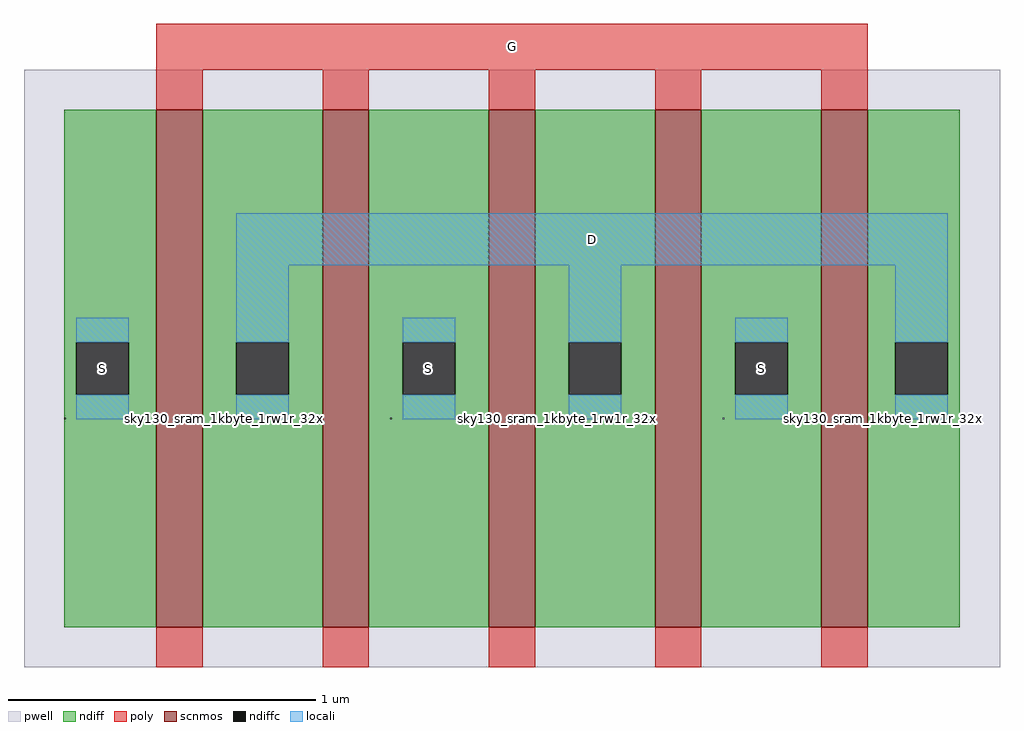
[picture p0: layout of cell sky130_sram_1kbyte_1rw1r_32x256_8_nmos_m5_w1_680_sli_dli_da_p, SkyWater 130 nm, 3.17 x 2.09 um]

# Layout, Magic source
magic
tech sky130A
magscale 1 2
<< pwell >>
rect -26 -26 608 362
<< scnmos >>
rect 60 0 90 336
rect 168 0 198 336
rect 276 0 306 336
rect 384 0 414 336
rect 492 0 522 336
<< ndiff >>
rect 0 185 60 336
rect 0 151 8 185
rect 42 151 60 185
rect 0 0 60 151
rect 90 185 168 336
rect 90 151 112 185
rect 146 151 168 185
rect 90 0 168 151
rect 198 185 276 336
rect 198 151 220 185
rect 254 151 276 185
rect 198 0 276 151
rect 306 185 384 336
rect 306 151 328 185
rect 362 151 384 185
rect 306 0 384 151
rect 414 185 492 336
rect 414 151 436 185
rect 470 151 492 185
rect 414 0 492 151
rect 522 185 582 336
rect 522 151 540 185
rect 574 151 582 185
rect 522 0 582 151
<< ndiffc >>
rect 8 151 42 185
rect 112 151 146 185
rect 220 151 254 185
rect 328 151 362 185
rect 436 151 470 185
rect 540 151 574 185
<< poly >>
rect 60 362 522 392
rect 60 336 90 362
rect 168 336 198 362
rect 276 336 306 362
rect 384 336 414 362
rect 492 336 522 362
rect 60 -26 90 0
rect 168 -26 198 0
rect 276 -26 306 0
rect 384 -26 414 0
rect 492 -26 522 0
<< locali >>
rect 112 235 574 269
rect 8 185 42 201
rect 8 135 42 151
rect 112 185 146 235
rect 112 135 146 151
rect 220 185 254 201
rect 220 135 254 151
rect 328 185 362 235
rect 328 135 362 151
rect 436 185 470 201
rect 436 135 470 151
rect 540 185 574 235
rect 540 135 574 151
use sky130_sram_1kbyte_1rw1r_32x256_8_contact_11  sky130_sram_1kbyte_1rw1r_32x256_8_contact_11_0
transform 1 0 532 0 1 135
box 0 0 1 1
use sky130_sram_1kbyte_1rw1r_32x256_8_contact_11  sky130_sram_1kbyte_1rw1r_32x256_8_contact_11_1
transform 1 0 428 0 1 135
box 0 0 1 1
use sky130_sram_1kbyte_1rw1r_32x256_8_contact_11  sky130_sram_1kbyte_1rw1r_32x256_8_contact_11_2
transform 1 0 320 0 1 135
box 0 0 1 1
use sky130_sram_1kbyte_1rw1r_32x256_8_contact_11  sky130_sram_1kbyte_1rw1r_32x256_8_contact_11_3
transform 1 0 212 0 1 135
box 0 0 1 1
use sky130_sram_1kbyte_1rw1r_32x256_8_contact_11  sky130_sram_1kbyte_1rw1r_32x256_8_contact_11_4
transform 1 0 104 0 1 135
box 0 0 1 1
use sky130_sram_1kbyte_1rw1r_32x256_8_contact_11  sky130_sram_1kbyte_1rw1r_32x256_8_contact_11_5
transform 1 0 0 0 1 135
box 0 0 1 1
<< labels >>
rlabel locali s 453 168 453 168 4 S
port 1 nsew
rlabel locali s 237 168 237 168 4 S
port 1 nsew
rlabel locali s 25 168 25 168 4 S
port 1 nsew
rlabel locali s 343 252 343 252 4 D
port 2 nsew
rlabel poly s 291 377 291 377 4 G
port 3 nsew
<< properties >>
string FIXED_BBOX -25 -26 607 392
string GDS_FILE $PDKPATH/libs.ref/sky130_sram_macros/gds/sky130_sram_1kbyte_1rw1r_32x256_8.gds
string GDS_END 156034
string GDS_START 154278
<< end >>
